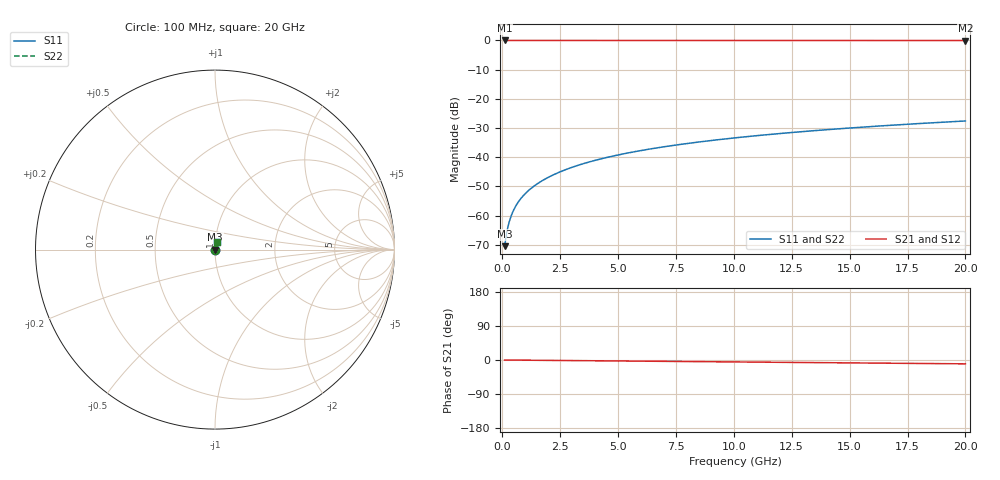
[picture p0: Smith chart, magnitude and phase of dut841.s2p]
! Touchstone file exported from HFSS 2026.1.0
!  File:  C:/ffzhzh/LocalFiles/Ansys_Project_Files/temp_train_TSV_841_1783184927_51560.aedt
!  Generated:  01:10:19 AM Jul  5, 2026
!  Design:  TSV
!  Project:  temp_train_TSV_841_1783184927_51560
! Variables:
!  h_bsmrdl = 2um
!  h_ox = 20um
!  h_rdl = 5um
!  h_sub = 98.1um
!  h_tmrdl = 5um
!  h_tsv = 98.1um
!  h_via = 3um
!  l_bsmrdl = 300um
!  l_sub = 419.42um
!  l_tmrdl = 200um
!  m_sub = 200um
!  pitch = 53um
!  r_tsv = 9.71um
!  s_tmrdl = 10um
!  w_bsmrdl = 18um
!  w_sub = 500um
!  w_tmrdl = 12um
!  x_tsv_center1 = 206um
!  x_tsv_center2 = 524um
!  x_tsv_center3 = 736um
!  x_tsv_center4 = 1054um
!  x_tsv_center5 = 1266um
!  x_tsv_center6 = 1584um
# GHz S MA R 50.000000
! Terminal data exported
! Port[1] = TSV1_1_T1
! Port[2] = TSV1_1_T2
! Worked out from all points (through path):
!   200 points, 100 MHz to 20 GHz, reference 50 ohm
!   highest |S21| = 0.00 dB at 100 MHz (marker M1); lowest = 0.0 dB at 20 GHz (marker M2)
!   group delay of S21, straight-line fit = 1.41 ps
!   lowest |S11| = -70.4 dB at 100 MHz (marker M3), VSWR 1.00, Z = 50 + j0.0259 ohm
!   |S11| at or under -10 dB: start of sweep to end of sweep
!   |S22| runs from -70.4 to -27.6 dB; largest |S21 - S12| = 5.6e-15
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0.1  0.0003004 59.3  0.9998 -0.1  0.9998 -0.1  0.0003004 59.3
! Gamma 0 0 0 0
! Port Impedance 50 0 50 0
0.2  0.0005404 72.1  0.9998 -0.1  0.9998 -0.1  0.0005404 72.1
0.3  0.0007876 76.3  0.9998 -0.2  0.9998 -0.2  0.0007876 76.3
0.4  0.001032 78.2  0.9998 -0.2  0.9998 -0.2  0.001032 78.2
0.5  0.001272 79.2  0.9998 -0.3  0.9998 -0.3  0.001272 79.2
0.6  0.001507 79.8  0.9997 -0.3  0.9997 -0.3  0.001507 79.8
0.7  0.001737 80.2  0.9997 -0.4  0.9997 -0.4  0.001737 80.2
0.8  0.001963 80.5  0.9997 -0.4  0.9997 -0.4  0.001963 80.5
1  0.002406 81.1  0.9996 -0.5  0.9996 -0.5  0.002406 81.1
1.4  0.003274 81.9  0.9996 -0.7  0.9996 -0.7  0.003274 81.9
1.7  0.003919 82.4  0.9995 -0.9  0.9995 -0.9  0.003919 82.4
2  0.004563 82.8  0.9995 -1.0  0.9995 -1.0  0.004563 82.8
2.7  0.006063 83.3  0.9994 -1.4  0.9994 -1.4  0.006063 83.3
3.5  0.007772 83.6  0.9993 -1.8  0.9993 -1.8  0.007772 83.6
4.2  0.009261 83.6  0.9993 -2.2  0.9993 -2.2  0.009261 83.6
5  0.01095 83.5  0.9992 -2.6  0.9992 -2.6  0.01095 83.5
6.8  0.01473 83.1  0.999 -3.5  0.999 -3.5  0.01473 83.1
8.3  0.01786 82.6  0.9989 -4.2  0.9989 -4.2  0.01786 82.6
10.1  0.0216 82.0  0.9987 -5.1  0.9987 -5.1  0.0216 82.0
13.4  0.0284 80.7  0.9984 -6.8  0.9984 -6.8  0.0284 80.7
16.7  0.03514 79.3  0.998 -8.5  0.998 -8.5  0.03514 79.3
20  0.04181 77.8  0.9976 -10.1  0.9976 -10.1  0.04181 77.8
